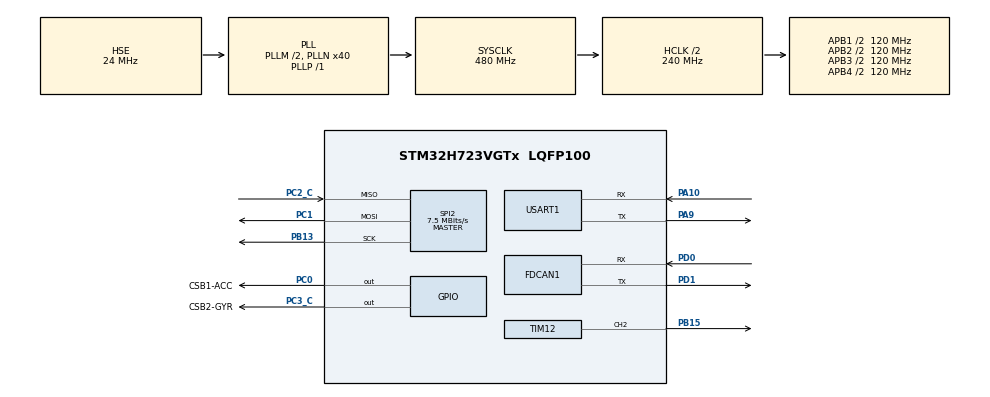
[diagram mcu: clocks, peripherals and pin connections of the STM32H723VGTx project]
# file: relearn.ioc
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CORTEX_M7.default_mode_Activation=1
Dma.Request0=USART1_TX
Dma.Request1=USART1_RX
Dma.USART1_RX.1.Direction=DMA_PERIPH_TO_MEMORY
Dma.USART1_RX.1.EventEnable=DISABLE
Dma.USART1_RX.1.FIFOMode=DMA_FIFOMODE_DISABLE
Dma.USART1_RX.1.Instance=DMA1_Stream1
Dma.USART1_RX.1.MemDataAlignment=DMA_MDATAALIGN_BYTE
Dma.USART1_RX.1.MemInc=DMA_MINC_ENABLE
Dma.USART1_RX.1.Mode=DMA_NORMAL
Dma.USART1_RX.1.PeriphDataAlignment=DMA_PDATAALIGN_BYTE
Dma.USART1_RX.1.PeriphInc=DMA_PINC_DISABLE
Dma.USART1_RX.1.Polarity=HAL_DMAMUX_REQ_GEN_RISING
Dma.USART1_RX.1.Priority=DMA_PRIORITY_LOW
Dma.USART1_RX.1.RequestNumber=1
Dma.USART1_RX.1.SignalID=NONE
Dma.USART1_RX.1.SyncEnable=DISABLE
Dma.USART1_RX.1.SyncPolarity=HAL_DMAMUX_SYNC_NO_EVENT
Dma.USART1_RX.1.SyncRequestNumber=1
Dma.USART1_RX.1.SyncSignalID=NONE
Dma.USART1_TX.0.Direction=DMA_MEMORY_TO_PERIPH
Dma.USART1_TX.0.EventEnable=DISABLE
Dma.USART1_TX.0.FIFOMode=DMA_FIFOMODE_DISABLE
Dma.USART1_TX.0.Instance=DMA1_Stream0
Dma.USART1_TX.0.MemDataAlignment=DMA_MDATAALIGN_BYTE
Dma.USART1_TX.0.MemInc=DMA_MINC_ENABLE
Dma.USART1_TX.0.Mode=DMA_NORMAL
Dma.USART1_TX.0.PeriphDataAlignment=DMA_PDATAALIGN_BYTE
Dma.USART1_TX.0.PeriphInc=DMA_PINC_DISABLE
Dma.USART1_TX.0.Polarity=HAL_DMAMUX_REQ_GEN_RISING
Dma.USART1_TX.0.Priority=DMA_PRIORITY_LOW
Dma.USART1_TX.0.RequestNumber=1
Dma.USART1_TX.0.SignalID=NONE
Dma.USART1_TX.0.SyncEnable=DISABLE
Dma.USART1_TX.0.SyncPolarity=HAL_DMAMUX_SYNC_NO_EVENT
Dma.USART1_TX.0.SyncRequestNumber=1
Dma.USART1_TX.0.SyncSignalID=NONE
FDCAN1.AutoRetransmission=ENABLE
FDCAN1.CalculateBaudRateNominal=1000000
FDCAN1.CalculateTimeBitNominal=1000
FDCAN1.CalculateTimeQuantumNominal=100.0
FDCAN1.NominalPrescaler=12
FDCAN1.NominalTimeSeg1=7
FDCAN1.NominalTimeSeg2=2
FREERTOS.Tasks01=defaultTask,24,128,StartDefaultTask,Default,NULL,Dynamic,NULL,NULL
Mcu.Family=STM32H7
Mcu.Name=STM32H723VGTx
Mcu.Package=LQFP100
NVIC.DMA1_Stream0_IRQn=true\:5\:0\:false\:false\:true\:true\:false\:true\:true
NVIC.DMA1_Stream1_IRQn=true\:5\:0\:false\:false\:true\:true\:false\:true\:true
NVIC.FDCAN1_IT0_IRQn=true\:5\:0\:false\:false\:true\:true\:true\:true\:true
NVIC.FDCAN1_IT1_IRQn=true\:5\:0\:false\:false\:true\:true\:true\:true\:true
NVIC.PriorityGroup=NVIC_PRIORITYGROUP_4
NVIC.TIM1_UP_IRQn=true\:15\:0\:false\:false\:true\:false\:false\:true\:true
NVIC.TimeBase=TIM1_UP_IRQn
NVIC.TimeBaseIP=TIM1
NVIC.USART1_IRQn=true\:5\:0\:false\:false\:true\:true\:true\:true\:true
PA10.Mode=Asynchronous
PA10.Signal=USART1_RX
PA9.Mode=Asynchronous
PA9.Signal=USART1_TX
PB13.Mode=Full_Duplex_Master
PB13.Signal=SPI2_SCK
PB15.Signal=S_TIM12_CH2
PC0.GPIO_Label=CSB1-ACC
PC0.Signal=GPIO_Output
PC1.Mode=Full_Duplex_Master
PC1.Signal=SPI2_MOSI
PC2_C.Mode=Full_Duplex_Master
PC2_C.Signal=SPI2_MISO
PC3_C.GPIO_Label=CSB2-GYR
PC3_C.Signal=GPIO_Output
PD0.Mode=FDCAN_Activate
PD0.Signal=FDCAN1_RX
PD1.Mode=FDCAN_Activate
PD1.Signal=FDCAN1_TX
PH0-OSC_IN.Mode=HSE-External-Oscillator
PH0-OSC_IN.Signal=RCC_OSC_IN
PH1-OSC_OUT.Mode=HSE-External-Oscillator
PH1-OSC_OUT.Signal=RCC_OSC_OUT
ProjectManager.HeapSize=0x200
ProjectManager.StackSize=0x400
ProjectManager.TargetToolchain=CMake
RCC.ADCFreq_Value=48375000
RCC.APB1Freq_Value=120000000
RCC.APB2Freq_Value=120000000
RCC.APB3Freq_Value=120000000
RCC.APB4Freq_Value=120000000
RCC.CortexFreq_Value=480000000
RCC.D1PPRE=RCC_APB3_DIV2
RCC.D2PPRE1=RCC_APB1_DIV2
RCC.D2PPRE2=RCC_APB2_DIV2
RCC.D3PPRE=RCC_APB4_DIV2
RCC.DIVM1=2
RCC.DIVN1=40
RCC.DIVP1=1
RCC.DIVQ1=4
RCC.HCLKFreq_Value=240000000
RCC.HPRE=RCC_HCLK_DIV2
RCC.HSE_VALUE=24000000
RCC.PLL2FRACN=0
RCC.PLL3FRACN=0
RCC.PLLFRACN=0
RCC.PLLSourceVirtual=RCC_PLLSOURCE_HSE
RCC.SYSCLKFreq_VALUE=480000000
RCC.SYSCLKSource=RCC_SYSCLKSOURCE_PLLCLK
RCC.USBFreq_Value=120000000
SH.S_TIM12_CH2.0=TIM12_CH2,PWM Generation2 CH2
SPI2.BaudRatePrescaler=SPI_BAUDRATEPRESCALER_16
SPI2.CalculateBaudRate=7.5 MBits/s
SPI2.DataSize=SPI_DATASIZE_8BIT
SPI2.Direction=SPI_DIRECTION_2LINES
SPI2.FifoThreshold=SPI_FIFO_THRESHOLD_04DATA
SPI2.Mode=SPI_MODE_MASTER
SPI2.NSSPMode=SPI_NSS_PULSE_DISABLE
SPI2.VirtualType=VM_MASTER
TIM12.AutoReloadPreload=TIM_AUTORELOAD_PRELOAD_ENABLE
TIM12.Channel-PWM\ Generation2\ CH2=TIM_CHANNEL_2
TIM12.Period=100
TIM12.Prescaler=1200-1
USART1.VirtualMode-Asynchronous=VM_ASYNC
VP_FREERTOS_VS_CMSIS_V2.Mode=CMSIS_V2
VP_MEMORYMAP_VS_MEMORYMAP.Mode=CurAppReg
VP_SYS_VS_tim1.Mode=TIM1
board=custom

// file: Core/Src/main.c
/* USER CODE BEGIN Header */
/**
  ******************************************************************************
  * @file           : main.c
  * @brief          : Main program body
  ******************************************************************************
  * @attention
  *
  * Copyright (c) 2025 STMicroelectronics.
  * All rights reserved.
  *
  * This software is licensed under terms that can be found in the LICENSE file
  * in the root directory of this software component.
  * If no LICENSE file comes with this software, it is provided AS-IS.
  *
  ******************************************************************************
  */
/* USER CODE END Header */
#include "main.h"
#include "cmsis_os.h"
#include "dma.h"
#include "fdcan.h"
#include "memorymap.h"
#include "spi.h"
#include "tim.h"
#include "usart.h"
#include "gpio.h"

/* USER CODE BEGIN Includes */
#include "ins.h"
/* USER CODE END Includes */

/* USER CODE BEGIN PV */
// BMI088 bmi088 = {0};
/* USER CODE END PV */

void SystemClock_Config(void);
static void MPU_Config(void);
void MX_FREERTOS_Init(void);
/* USER CODE BEGIN PFP */
void beep(void);
/* USER CODE END PFP */

int main(void)
{

  /* MPU Configuration--------------------------------------------------------*/
  MPU_Config();

  /* MCU Configuration--------------------------------------------------------*/

  /* Reset of all peripherals, Initializes the Flash interface and the Systick. */
  HAL_Init();

  /* Configure the system clock */
  SystemClock_Config();

  /* Initialize all configured peripherals */
  MX_GPIO_Init();
  MX_DMA_Init();
  MX_TIM12_Init();
  MX_USART1_UART_Init();
  MX_FDCAN1_Init();
  MX_SPI2_Init();
  /* USER CODE BEGIN 2 */
  initBMI088(&bmi088);
  //beep();
  // initBMI08(&bmi088);
  // HAL_GPIO_WritePin()
  /* USER CODE END 2 */

  /* Init scheduler */
  osKernelInitialize();

  /* Call init function for freertos objects (in cmsis_os2.c) */
  MX_FREERTOS_Init();

  /* Start scheduler */
  osKernelStart();

  /* We should never get here as control is now taken by the scheduler */

  /* Infinite loop */
  while (1)
  {

  }
}

void SystemClock_Config(void)
{
  RCC_OscInitTypeDef RCC_OscInitStruct = {0};
  RCC_ClkInitTypeDef RCC_ClkInitStruct = {0};

  /** Supply configuration update enable
  */
  HAL_PWREx_ConfigSupply(PWR_LDO_SUPPLY);

  /** Configure the main internal regulator output voltage
  */
  __HAL_PWR_VOLTAGESCALING_CONFIG(PWR_REGULATOR_VOLTAGE_SCALE0);

  while(!__HAL_PWR_GET_FLAG(PWR_FLAG_VOSRDY)) {}

  /** Initializes the RCC Oscillators according to the specified parameters
  * in the RCC_OscInitTypeDef structure.
  */
  RCC_OscInitStruct.OscillatorType = RCC_OSCILLATORTYPE_HSE;
  RCC_OscInitStruct.HSEState = RCC_HSE_ON;
  RCC_OscInitStruct.PLL.PLLState = RCC_PLL_ON;
  RCC_OscInitStruct.PLL.PLLSource = RCC_PLLSOURCE_HSE;
  RCC_OscInitStruct.PLL.PLLM = 2;
  RCC_OscInitStruct.PLL.PLLN = 40;
  RCC_OscInitStruct.PLL.PLLP = 1;
  RCC_OscInitStruct.PLL.PLLQ = 4;
  RCC_OscInitStruct.PLL.PLLR = 2;
  RCC_OscInitStruct.PLL.PLLRGE = RCC_PLL1VCIRANGE_3;
  RCC_OscInitStruct.PLL.PLLVCOSEL = RCC_PLL1VCOWIDE;
  RCC_OscInitStruct.PLL.PLLFRACN = 0;
  if (HAL_RCC_OscConfig(&RCC_OscInitStruct) != HAL_OK)
  {
    Error_Handler();
  }

  /** Initializes the CPU, AHB and APB buses clocks
  */
  RCC_ClkInitStruct.ClockType = RCC_CLOCKTYPE_HCLK|RCC_CLOCKTYPE_SYSCLK
                              |RCC_CLOCKTYPE_PCLK1|RCC_CLOCKTYPE_PCLK2
                              |RCC_CLOCKTYPE_D3PCLK1|RCC_CLOCKTYPE_D1PCLK1;
  RCC_ClkInitStruct.SYSCLKSource = RCC_SYSCLKSOURCE_PLLCLK;
  RCC_ClkInitStruct.SYSCLKDivider = RCC_SYSCLK_DIV1;
  RCC_ClkInitStruct.AHBCLKDivider = RCC_HCLK_DIV2;
  RCC_ClkInitStruct.APB3CLKDivider = RCC_APB3_DIV2;
  RCC_ClkInitStruct.APB1CLKDivider = RCC_APB1_DIV2;
  RCC_ClkInitStruct.APB2CLKDivider = RCC_APB2_DIV2;
  RCC_ClkInitStruct.APB4CLKDivider = RCC_APB4_DIV2;

  if (HAL_RCC_ClockConfig(&RCC_ClkInitStruct, FLASH_LATENCY_3) != HAL_OK)
  {
    Error_Handler();
  }
}

/* USER CODE BEGIN 4 */
void beep(void)
{
  HAL_TIM_PWM_Start(&htim12, TIM_CHANNEL_2);
  __HAL_TIM_SET_AUTORELOAD(&htim12, 510/2);
  __HAL_TIM_SetCompare(&htim12, TIM_CHANNEL_2, 255/2);
  HAL_Delay(300);
  __HAL_TIM_SetCompare(&htim12, TIM_CHANNEL_2, 0);
  HAL_Delay(10);
  __HAL_TIM_SetCompare(&htim12, TIM_CHANNEL_2, 255/2);
  HAL_Delay(220);
  __HAL_TIM_SET_AUTORELOAD(&htim12, 600/2);
  __HAL_TIM_SetCompare(&htim12, TIM_CHANNEL_2, 300/2);
  HAL_Delay(150);
  __HAL_TIM_SET_AUTORELOAD(&htim12, 573/2);
  __HAL_TIM_SetCompare(&htim12, TIM_CHANNEL_2, 286/2);
  HAL_Delay(130);
  __HAL_TIM_SET_AUTORELOAD(&htim12, 510/2);
  __HAL_TIM_SetCompare(&htim12, TIM_CHANNEL_2, 255/2);
  HAL_Delay(200);
  __HAL_TIM_SetCompare(&htim12, TIM_CHANNEL_2, 0);
}
/* USER CODE END 4 */

 /* MPU Configuration */

void MPU_Config(void)
{
  MPU_Region_InitTypeDef MPU_InitStruct = {0};

  /* Disables the MPU */
  HAL_MPU_Disable();

  /** Initializes and configures the Region and the memory to be protected
  */
  MPU_InitStruct.Enable = MPU_REGION_ENABLE;
  MPU_InitStruct.Number = MPU_REGION_NUMBER0;
  MPU_InitStruct.BaseAddress = 0x0;
  MPU_InitStruct.Size = MPU_REGION_SIZE_4GB;
  MPU_InitStruct.SubRegionDisable = 0x87;
  MPU_InitStruct.TypeExtField = MPU_TEX_LEVEL0;
  MPU_InitStruct.AccessPermission = MPU_REGION_NO_ACCESS;
  MPU_InitStruct.DisableExec = MPU_INSTRUCTION_ACCESS_DISABLE;
  MPU_InitStruct.IsShareable = MPU_ACCESS_SHAREABLE;
  MPU_InitStruct.IsCacheable = MPU_ACCESS_NOT_CACHEABLE;
  MPU_InitStruct.IsBufferable = MPU_ACCESS_NOT_BUFFERABLE;

  HAL_MPU_ConfigRegion(&MPU_InitStruct);
  /* Enables the MPU */
  HAL_MPU_Enable(MPU_PRIVILEGED_DEFAULT);

}

void HAL_TIM_PeriodElapsedCallback(TIM_HandleTypeDef *htim)
{
  if (htim->Instance == TIM1) {
    HAL_IncTick();
  }
}

void Error_Handler(void)
{
  __disable_irq();
  while (1)
  {
  }
}

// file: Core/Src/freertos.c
/* USER CODE BEGIN Header */
/**
  ******************************************************************************
  * File Name          : freertos.c
  * Description        : Code for freertos applications
  ******************************************************************************
  * @attention
  *
  * Copyright (c) 2025 STMicroelectronics.
  * All rights reserved.
  *
  * This software is licensed under terms that can be found in the LICENSE file
  * in the root directory of this software component.
  * If no LICENSE file comes with this software, it is provided AS-IS.
  *
  ******************************************************************************
  */
/* USER CODE END Header */

#include "FreeRTOS.h"
#include "task.h"
#include "main.h"
#include "cmsis_os.h"

/* USER CODE BEGIN Includes */
#include "tim.h"
#include "ins.h"
/* USER CODE END Includes */

/* Definitions for defaultTask */
osThreadId_t defaultTaskHandle;
const osThreadAttr_t defaultTask_attributes = {
  .name = "defaultTask",
  .stack_size = 128 * 4,
  .priority = (osPriority_t) osPriorityNormal,
};

void StartDefaultTask(void *argument);

void MX_FREERTOS_Init(void); /* (MISRA C 2004 rule 8.1) */

void MX_FREERTOS_Init(void) {

  /* Create the thread(s) */
  /* creation of defaultTask */
  defaultTaskHandle = osThreadNew(StartDefaultTask, NULL, &defaultTask_attributes);

}

void StartDefaultTask(void *argument)
{
  /* USER CODE BEGIN StartDefaultTask */
  /* Infinite loop */
  for(;;)
  {
    testINS();
    osDelay(1);
  }
  /* USER CODE END StartDefaultTask */
}
